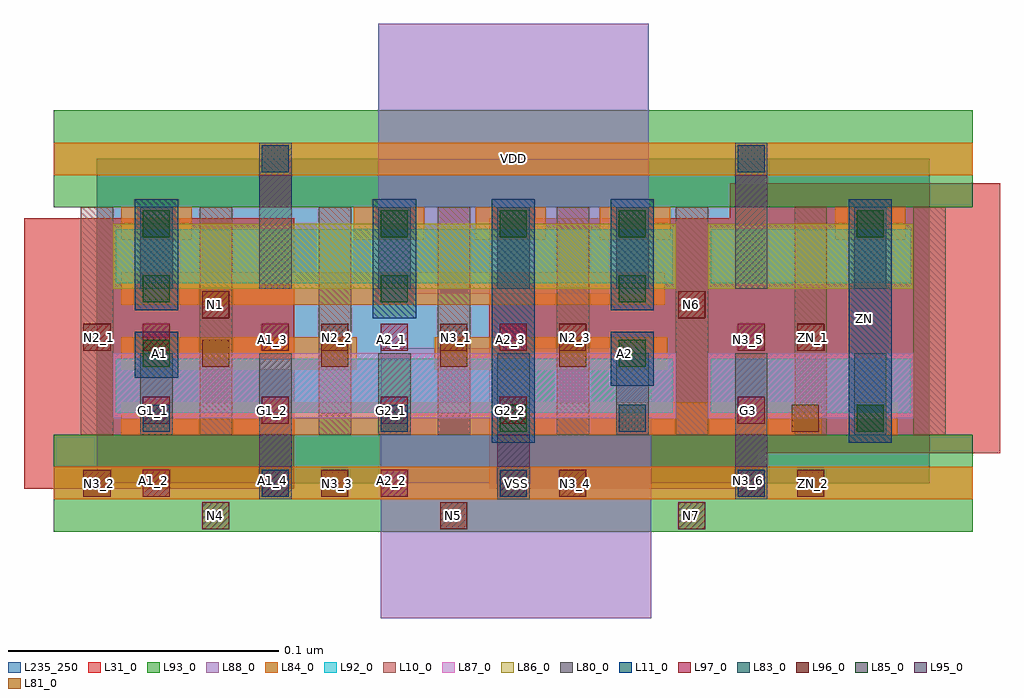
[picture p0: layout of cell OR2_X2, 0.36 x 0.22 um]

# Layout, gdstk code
import gdstk
lib = gdstk.Library(unit=1e-6, precision=1e-09)
def R(c, l, rs):  # rectangles x0, y0, x1, y1
    for r in rs: c.add(gdstk.rectangle(r[:2], r[2:], *l))
def A(c, l, x, y, w, h, nx, ny, dx, dy):  # array of equal rectangles
    R(c, l, [(x+i*dx, y+j*dy, x+i*dx+w, y+j*dy+h) for i in range(nx) for j in range(ny)])
L10_0 = (10, 0)
L11_0 = (11, 0)
L31_0 = (31, 0)
L80_0 = (80, 0)
L81_0 = (81, 0)
L83_0 = (83, 0)
L84_0 = (84, 0)
L85_0 = (85, 0)
L86_0 = (86, 0)
L87_0 = (87, 0)
L88_0 = (88, 0)
L92_0 = (92, 0)
L93_0 = (93, 0)
L95_0 = (95, 0)
L96_0 = (96, 0)
L97_0 = (97, 0)
L235_250 = (235, 250)

or2_x2 = lib.new_cell('OR2_X2')
A(or2_x2, L10_0, -0.006, 0.018, 0.012, 0.084, 8, 1, 0.044, 0)
R(or2_x2, L11_0, [(0.146,0.015,0.162,0.105), (0.278,0.015,0.294,0.105), (0.19,0.036,0.206,0.056), (0.014,0.039,0.03,0.056), (0.102,0.061,0.118,0.105), (0.014,0.064,0.03,0.105), (0.19,0.064,0.206,0.105)])
R(or2_x2, L31_0, [(-0.027,-0.002,0.073,0.098), (0.145,-0.002,0.245,0.098), (0.234,0.011,0.334,0.111)])
A(or2_x2, L80_0, 0.06, -0.006, 0.012, 0.054, 3, 1, 0.088, 0)
A(or2_x2, L80_0, 0.016, 0.018, 0.012, 0.03, 4, 1, 0.088, 0)
A(or2_x2, L80_0, 0.104, 0.072, 0.012, 0.03, 3, 1, 0.044, 0)
R(or2_x2, L80_0, [(0.016,0.072,0.028,0.102), (0.06,0.072,0.072,0.126), (0.236,0.072,0.248,0.126), (0.28,0.072,0.292,0.102)])
A(or2_x2, L81_0, 0.039, 0.043, 0.01, 0.01, 4, 1, 0.044, 0)
R(or2_x2, L81_0, [(0.257,0.019,0.267,0.029)])
A(or2_x2, L83_0, 0.061, -0.005, 0.01, 0.01, 3, 1, 0.088, 0)
A(or2_x2, L83_0, 0.017, 0.019, 0.01, 0.01, 4, 1, 0.088, 0)
A(or2_x2, L83_0, 0.105, 0.091, 0.01, 0.01, 3, 1, 0.044, 0)
R(or2_x2, L83_0, [(0.017,0.091,0.027,0.101), (0.281,0.091,0.291,0.101), (0.061,0.115,0.071,0.125), (0.237,0.115,0.247,0.125)])
R(or2_x2, L84_0, [(-0.016,-0.006,0.324,0.006), (0.009,0.018,0.268,0.03), (0.28,0.018,0.296,0.03), (0.009,0.042,0.096,0.054), (0.125,0.042,0.211,0.054), (0.009,0.066,0.21,0.078), (0.009,0.09,0.035,0.102), (0.095,0.09,0.121,0.102), (0.14,0.09,0.166,0.102), (0.186,0.09,0.212,0.102), (0.273,0.09,0.299,0.102), (-0.016,0.114,0.324,0.126)])
A(or2_x2, L85_0, 0.017, 0.067, 0.01, 0.01, 3, 1, 0.088, 0)
A(or2_x2, L85_0, 0.105, 0.091, 0.01, 0.01, 3, 1, 0.044, 0)
R(or2_x2, L85_0, [(0.149,0.019,0.159,0.029), (0.281,0.019,0.291,0.029), (0.017,0.043,0.027,0.053), (0.193,0.043,0.203,0.053), (0.017,0.091,0.027,0.101), (0.281,0.091,0.291,0.101)])
R(or2_x2, L86_0, [(0.006,0.072,0.214,0.096), (0.226,0.072,0.302,0.096)])
R(or2_x2, L87_0, [(0.006,0.024,0.214,0.048), (0.226,0.024,0.302,0.048)])
R(or2_x2, L88_0, [(0.105,-0.05,0.205,0.05), (0.149,-0.005,0.159,0.005), (0.104,0.07,0.204,0.17), (0.149,0.115,0.159,0.125)])
R(or2_x2, L92_0, [(0.007,0.026,0.213,0.046), (0.227,0.026,0.301,0.046), (0.007,0.074,0.213,0.094), (0.227,0.074,0.301,0.094)])
R(or2_x2, L93_0, [(-0.016,-0.018,0.324,0.018), (-0.016,0.102,0.324,0.138)])
A(or2_x2, L95_0, 0.06, 0.006, 0.012, 0.012, 3, 1, 0.088, 0)
R(or2_x2, L95_0, [(0.06,0.102,0.072,0.114), (0.236,0.102,0.248,0.114)])
A(or2_x2, L96_0, 0.039, -0.017, 0.01, 0.01, 3, 1, 0.088, 0)
A(or2_x2, L96_0, -0.005, -0.005, 0.01, 0.01, 4, 1, 0.088, 0)
A(or2_x2, L96_0, 0.083, 0.049, 0.01, 0.01, 3, 1, 0.044, 0)
R(or2_x2, L96_0, [(-0.005,0.049,0.005,0.059), (0.259,0.049,0.269,0.059), (0.039,0.061,0.049,0.071), (0.215,0.061,0.225,0.071)])
A(or2_x2, L97_0, 0.017, -0.005, 0.01, 0.01, 4, 3, 0.044, 0.027)
A(or2_x2, L97_0, 0.237, -0.005, 0.01, 0.01, 1, 3, 0, 0.027)
R(or2_x2, L235_250, [(0,0,0.308,0.12)])
or2_x2.add(gdstk.Label('VSS', (0.155,0), layer=88, texttype=0))
or2_x2.add(gdstk.Label('VDD', (0.154,0.12), layer=88, texttype=0))
or2_x2.add(gdstk.Label('ZN', (0.284,0.061), layer=31, texttype=0))
or2_x2.add(gdstk.Label('A2', (0.195,0.048), layer=31, texttype=0))
or2_x2.add(gdstk.Label('A1', (0.023,0.048), layer=31, texttype=0))
or2_x2.add(gdstk.Label('N3_6', (0.241,0.001), layer=97, texttype=0))
or2_x2.add(gdstk.Label('N3_5', (0.241,0.053), layer=97, texttype=0))
or2_x2.add(gdstk.Label('G3', (0.241,0.027), layer=97, texttype=0))
or2_x2.add(gdstk.Label('G2_2', (0.153,0.027), layer=97, texttype=0))
or2_x2.add(gdstk.Label('A2_3', (0.153,0.053), layer=97, texttype=0))
or2_x2.add(gdstk.Label('A2_4', (0.153,0.001), layer=97, texttype=0))
or2_x2.add(gdstk.Label('G2_1', (0.109,0.027), layer=97, texttype=0))
or2_x2.add(gdstk.Label('A2_1', (0.109,0.053), layer=97, texttype=0))
or2_x2.add(gdstk.Label('A2_2', (0.109,0.001), layer=97, texttype=0))
or2_x2.add(gdstk.Label('A1_4', (0.065,0.001), layer=97, texttype=0))
or2_x2.add(gdstk.Label('A1_3', (0.065,0.053), layer=97, texttype=0))
or2_x2.add(gdstk.Label('G1_2', (0.065,0.027), layer=97, texttype=0))
or2_x2.add(gdstk.Label('A1_1', (0.021,0.053), layer=97, texttype=0))
or2_x2.add(gdstk.Label('G1_1', (0.021,0.027), layer=97, texttype=0))
or2_x2.add(gdstk.Label('A1_2', (0.021,0.001), layer=97, texttype=0))
or2_x2.add(gdstk.Label('ZN_1', (0.265,0.054), layer=96, texttype=0))
or2_x2.add(gdstk.Label('N2_3', (0.177,0.054), layer=96, texttype=0))
or2_x2.add(gdstk.Label('N3_1', (0.133,0.054), layer=96, texttype=0))
or2_x2.add(gdstk.Label('N2_2', (0.089,0.054), layer=96, texttype=0))
or2_x2.add(gdstk.Label('N2_1', (0.001,0.054), layer=96, texttype=0))
or2_x2.add(gdstk.Label('ZN_2', (0.265,0), layer=96, texttype=0))
or2_x2.add(gdstk.Label('N3_4', (0.177,0), layer=96, texttype=0))
or2_x2.add(gdstk.Label('N3_3', (0.089,0), layer=96, texttype=0))
or2_x2.add(gdstk.Label('N3_2', (0.001,0), layer=96, texttype=0))
or2_x2.add(gdstk.Label('N5', (0.132,-0.012), layer=96, texttype=0))
or2_x2.add(gdstk.Label('N7', (0.22,-0.012), layer=96, texttype=0))
or2_x2.add(gdstk.Label('N6', (0.22,0.066), layer=96, texttype=0))
or2_x2.add(gdstk.Label('N1', (0.044,0.066), layer=96, texttype=0))
or2_x2.add(gdstk.Label('N4', (0.044,-0.012), layer=96, texttype=0))

lib.write_gds('OR2_X2.gds')
